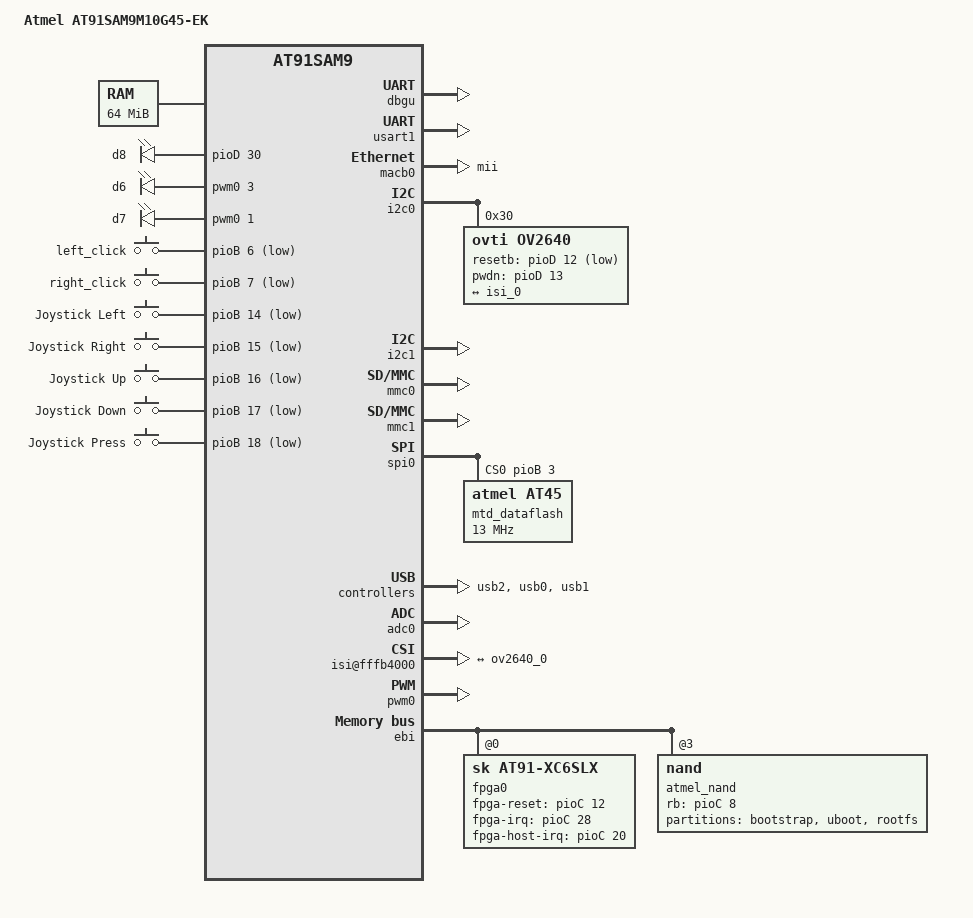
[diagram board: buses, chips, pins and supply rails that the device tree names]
/*
 * at91sam9m10g45ek.dts - Device Tree file for AT91SAM9M10G45-EK board
 *
 *  Copyright (C) 2011 Atmel,
 *                2011 Nicolas Ferre <nicolas.ferre@atmel.com>
 *
 * Licensed under GPLv2 or later.
 */
/dts-v1/;
#include "at91sam9g45.dtsi"
#include <dt-bindings/pwm/pwm.h>

/ {
	model = "Atmel AT91SAM9M10G45-EK";
	compatible = "atmel,at91sam9m10g45ek", "atmel,at91sam9g45", "atmel,at91sam9";

	chosen {
		bootargs = "mem=64M root=/dev/mtdblock1 rw rootfstype=jffs2";
		stdout-path = "serial0:115200n8";
	};

	memory {
		reg = <0x70000000 0x4000000>;
	};

	clocks {
		slow_xtal {
		      clock-frequency = <32768>;
		};

		main_xtal {
		      clock-frequency = <12000000>;
		};
	};

	ahb {
		apb {
			dbgu: serial@ffffee00 {
				status = "okay";
			};

			usart1: serial@fff90000 {
				pinctrl-0 =
					<&pinctrl_usart1
					 &pinctrl_usart1_rts
					 &pinctrl_usart1_cts>;
				status = "okay";
			};

			macb0: ethernet@fffbc000 {
				phy-mode = "mii";
				status = "okay";
			};

			i2c0: i2c@fff84000 {
				status = "okay";
				ov2640: camera@30 {
					compatible = "ovti,ov2640";
					reg = <0x30>;
					pinctrl-names = "default";
					pinctrl-0 = <&pinctrl_pck1_as_isi_mck &pinctrl_sensor_power &pinctrl_sensor_reset>;
					resetb-gpios = <&pioD 12 GPIO_ACTIVE_LOW>;
					pwdn-gpios = <&pioD 13 GPIO_ACTIVE_HIGH>;
					clocks = <&pck1>;
					clock-names = "xvclk";
					assigned-clocks = <&pck1>;
					assigned-clock-rates = <25000000>;

					port {
						ov2640_0: endpoint {
							remote-endpoint = <&isi_0>;
							bus-width = <8>;
						};
					};
				};
			};

			i2c1: i2c@fff88000 {
				status = "okay";
			};

			watchdog@fffffd40 {
				status = "okay";
			};

			mmc0: mmc@fff80000 {
				pinctrl-0 = <
					&pinctrl_board_mmc0
					&pinctrl_mmc0_slot0_clk_cmd_dat0
					&pinctrl_mmc0_slot0_dat1_3>;
				status = "okay";
				slot@0 {
					reg = <0>;
					bus-width = <4>;
					cd-gpios = <&pioD 10 GPIO_ACTIVE_HIGH>;
				};
			};

			mmc1: mmc@fffd0000 {
				pinctrl-0 = <
					&pinctrl_board_mmc1
					&pinctrl_mmc1_slot0_clk_cmd_dat0
					&pinctrl_mmc1_slot0_dat1_3>;
				status = "okay";
				slot@0 {
					reg = <0>;
					bus-width = <4>;
					cd-gpios = <&pioD 5 GPIO_ACTIVE_HIGH>;
				};
			};

			pinctrl@fffff200 {
				camera_sensor {
					pinctrl_pck1_as_isi_mck: pck1_as_isi_mck-0 {
						atmel,pins =
							<AT91_PIOB 31 AT91_PERIPH_B AT91_PINCTRL_NONE>;
					};

					pinctrl_sensor_reset: sensor_reset-0 {
						atmel,pins =
							<AT91_PIOD 12 AT91_PERIPH_GPIO AT91_PINCTRL_NONE>;
					};

					pinctrl_sensor_power: sensor_power-0 {
						atmel,pins =
							<AT91_PIOD 13 AT91_PERIPH_GPIO AT91_PINCTRL_NONE>;
					};
				};
				mmc0 {
					pinctrl_board_mmc0: mmc0-board {
						atmel,pins =
							<AT91_PIOD 10 AT91_PERIPH_GPIO AT91_PINCTRL_PULL_UP_DEGLITCH>;	/* PD10 gpio CD pin pull up and deglitch */
					};
				};

				mmc1 {
					pinctrl_board_mmc1: mmc1-board {
						atmel,pins =
							<AT91_PIOD 5 AT91_PERIPH_GPIO AT91_PINCTRL_PULL_UP_DEGLITCH	/* PD5 gpio CD pin pull up and deglitch */
							 AT91_PIOD 29 AT91_PERIPH_GPIO AT91_PINCTRL_PULL_UP>;	/* PD29 gpio WP pin pull up */
					};
				};

				pwm0 {
					pinctrl_pwm_leds: pwm-led {
						atmel,pins =
							<AT91_PIOD 0  AT91_PERIPH_B AT91_PINCTRL_PULL_UP	/* PD0 periph B */
							 AT91_PIOD 31 AT91_PERIPH_B AT91_PINCTRL_PULL_UP>;	/* PD31 periph B */
					};
				};
				fpga0 {
					pinctrl_pck0_as_fpga_clock: fpga-clk {
						atmel,pins =
							<AT91_PIOE 0  AT91_PERIPH_B AT91_PINCTRL_NONE>;
					};
					pinctrl_pc20_as_host_irq: host-irq {
						atmel,pins =
							<AT91_PIOC 20 AT91_PERIPH_GPIO AT91_PINCTRL_DEGLITCH>;
					};
					pinctrl_pc28_as_fpga_irq: fpga-irq {
						atmel,pins =
							<AT91_PIOC 28 AT91_PERIPH_GPIO AT91_PINCTRL_DEGLITCH>;
					};
					pinctrl_pc12_as_fpga_reset: fpga-reset {
						atmel,pins =
							<AT91_PIOC 12 AT91_PERIPH_GPIO AT91_PINCTRL_DEGLITCH>;
					};
					pinctrl_fpga_prog: fpga-prog {
						atmel,pins =
							<AT91_PIOC 10 AT91_PERIPH_GPIO AT91_PINCTRL_NONE
							 AT91_PIOC 11 AT91_PERIPH_GPIO AT91_PINCTRL_NONE
							 AT91_PIOC 29 AT91_PERIPH_GPIO AT91_PINCTRL_NONE
							 AT91_PIOC 30 AT91_PERIPH_GPIO AT91_PINCTRL_NONE>;
					};
				};
			};

			spi0: spi@fffa4000{
				status = "okay";
				cs-gpios = <&pioB 3 0>, <0>, <0>, <0>;
				mtd_dataflash@0 {
					compatible = "atmel,at45", "atmel,dataflash";
					spi-max-frequency = <13000000>;
					reg = <0>;
				};
			};

			usb2: gadget@fff78000 {
				atmel,vbus-gpio = <&pioB 19 GPIO_ACTIVE_HIGH>;
				status = "okay";
			};

			ac97: sound@fffac000 {
				status = "okay";
			};

			adc0: adc@fffb0000 {
				pinctrl-names = "default";
				pinctrl-0 = <
					&pinctrl_adc0_ad0
					&pinctrl_adc0_ad1
					&pinctrl_adc0_ad2
					&pinctrl_adc0_ad3
					&pinctrl_adc0_ad4
					&pinctrl_adc0_ad5
					&pinctrl_adc0_ad6
					&pinctrl_adc0_ad7>;
				atmel,adc-ts-wires = <4>;
				status = "okay";
			};

			isi@fffb4000 {
				pinctrl-names = "default";
				pinctrl-0 = <&pinctrl_isi_data_0_7>;
				status = "okay";
				port {
					isi_0: endpoint {
						remote-endpoint = <&ov2640_0>;
						bus-width = <8>;
						vsync-active = <1>;
						hsync-active = <1>;
					};
				};
			};

			pwm0: pwm@fffb8000 {
				status = "okay";

				pinctrl-names = "default";
				pinctrl-0 = <&pinctrl_pwm_leds>;
			};

			rtc@fffffd20 {
				atmel,rtt-rtc-time-reg = <&gpbr 0x0>;
				status = "okay";
			};

			gpbr: syscon@fffffd60 {
				status = "okay";
			};

			rtc@fffffdb0 {
				status = "okay";
			};
		};



























		ebi: ebi@10000000 {
			status = "okay";

			fpga0: fpga {
				status = "okay";
				compatible = "sk,at91-xc6slx";
				atmel,smc-bus-width = <16>;
				atmel,smc-read-mode = "nrd";
				atmel,smc-write-mode = "nwe";
				/* Initial values for SMC configuration, double check them in the driver */
				atmel,smc-ncs-rd-setup-ns = <10>;
				atmel,smc-ncs-wr-setup-ns = <10>;
				atmel,smc-nrd-setup-ns = <10>;
				atmel,smc-nwe-setup-ns = <10>;
				atmel,smc-ncs-rd-pulse-ns = <80>;
				atmel,smc-ncs-wr-pulse-ns = <80>;
				atmel,smc-nrd-pulse-ns = <80>;
				atmel,smc-nwe-pulse-ns = <80>;
				atmel,smc-nrd-cycle-ns = <10>;
				atmel,smc-nwe-cycle-ns = <10>;
				atmel,smc-tdf-ns = <0>;
                                dmas = <&dma 1 5>;
                                dma-names = "tx - rx";
				/* clock stuff might be depricated */
				clocks = <&pck0>;
				clock-names = "mclk";
				#address-cells = <2>;
				#size-cells = <1>;
				reg = <0x0 0x0 0x10000000>;
				/* Window size should be 0x2000000 since only 25 address bit available for each cs*/
				fpga-memory-window-size = <0x2000000>;
				/* get start address from the ebi interface */
				fpga-memory-start-address-cs0 = <0x10000000>;
				fpga-memory-start-address-cs1 = <0x20000000>;
				fpga-frequency = <133333333>;
				pinctrl-names = "default";
				pinctrl-0 = <
					&pinctrl_pck0_as_fpga_clock
					&pinctrl_pc20_as_host_irq
					&pinctrl_pc28_as_fpga_irq
					&pinctrl_fpga_prog
					&pinctrl_pc12_as_fpga_reset>;
				fpga-reset-gpio    = <&pioC 12 GPIO_ACTIVE_HIGH>;
				fpga-irq-gpio      = <&pioC 28 GPIO_ACTIVE_HIGH>;
				fpga-host-irq-gpio = <&pioC 20 GPIO_ACTIVE_HIGH>;
				fpga-program-done  = <&pioC 29 GPIO_ACTIVE_HIGH>;
				fpga-program-cclk  = <&pioC 10 GPIO_ACTIVE_HIGH>;
				fpga-program-din   = <&pioC 11 GPIO_ACTIVE_HIGH>;
				fpga-program-prog  = <&pioC 30 GPIO_ACTIVE_HIGH>;
			};

			nand_controller: nand-controller {
				status = "okay";
				pinctrl-0 = <&pinctrl_nand_cs &pinctrl_nand_rb>;
				pinctrl-names = "default";

				nand@3 {
					reg = <0x3 0x0 0x10000000>;
					rb-gpios = <&pioC 8 GPIO_ACTIVE_HIGH>;
					cs-gpios = <&pioC 14 GPIO_ACTIVE_HIGH>;
					nand-bus-width = <8>;
					nand-ecc-mode = "soft";
					nand-on-flash-bbt;
					label = "atmel_nand";

					partitions {
						compatible = "fixed-partitions";
						#address-cells = <1>;
						#size-cells = <1>;
                                                /* Need to finish the address map for the nand
                                                 * and put it here
                                                 */
						bootstrap0@0 {
							label = "bootstrap";
							reg = <0x0 0x60000>;
						};

                                                uboot0@60000 {
							label = "uboot";
							reg = <0x60000 0x100000>;
						};

						rootfs@100000 {
							label = "rootfs";
							reg = <0x160000 0xfb60000>;
						};
					};
				};
			};
		};

		usb0: ohci@700000 {
			status = "okay";
			num-ports = <2>;
			atmel,vbus-gpio = <&pioD 1 GPIO_ACTIVE_LOW
					   &pioD 3 GPIO_ACTIVE_LOW>;
		};

		usb1: ehci@800000 {
			status = "okay";
		};

	};

	leds {
		compatible = "gpio-leds";

		d8 {
			label = "d8";
			gpios = <&pioD 30 GPIO_ACTIVE_HIGH>;
			linux,default-trigger = "heartbeat";
		};
	};

	pwmleds {
		compatible = "pwm-leds";

		d6 {
			label = "d6";
			pwms = <&pwm0 3 5000 PWM_POLARITY_INVERTED>;
			max-brightness = <255>;
			linux,default-trigger = "nand-disk";
		};

		d7 {
			label = "d7";
			pwms = <&pwm0 1 5000 PWM_POLARITY_INVERTED>;
			max-brightness = <255>;
			linux,default-trigger = "mmc0";
		};
	};

	gpio_keys {
		compatible = "gpio-keys";

		left_click {
			label = "left_click";
			gpios = <&pioB 6 GPIO_ACTIVE_LOW>;
			linux,code = <272>;
			wakeup-source;
		};

		right_click {
			label = "right_click";
			gpios = <&pioB 7 GPIO_ACTIVE_LOW>;
			linux,code = <273>;
			wakeup-source;
		};

		left {
			label = "Joystick Left";
			gpios = <&pioB 14 GPIO_ACTIVE_LOW>;
			linux,code = <105>;
		};

		right {
			label = "Joystick Right";
			gpios = <&pioB 15 GPIO_ACTIVE_LOW>;
			linux,code = <106>;
		};

		up {
			label = "Joystick Up";
			gpios = <&pioB 16 GPIO_ACTIVE_LOW>;
			linux,code = <103>;
		};

		down {
			label = "Joystick Down";
			gpios = <&pioB 17 GPIO_ACTIVE_LOW>;
			linux,code = <108>;
		};

		enter {
			label = "Joystick Press";
			gpios = <&pioB 18 GPIO_ACTIVE_LOW>;
			linux,code = <28>;
		};
	};
};
